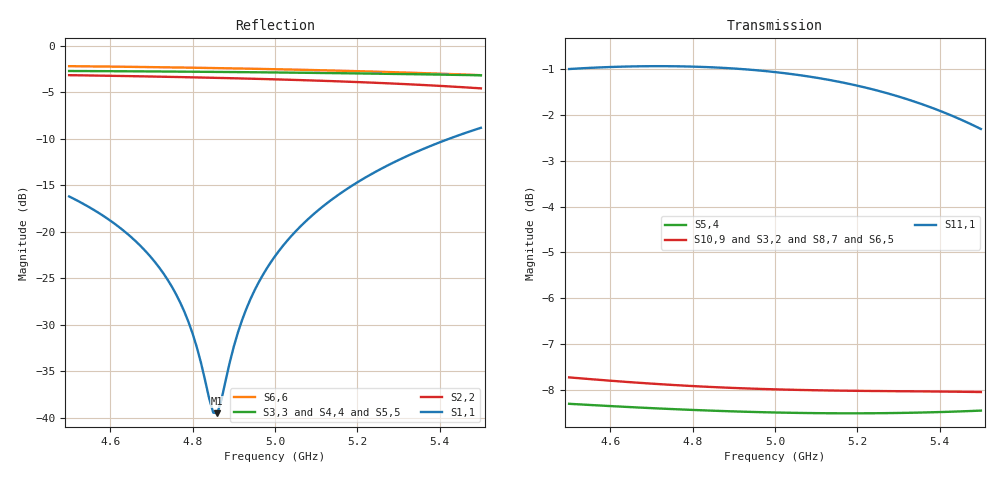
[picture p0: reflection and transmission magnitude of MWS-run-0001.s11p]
! TOUCHSTONE file generated by CST MICROWAVE STUDIO
! Date and time: Mon Jun  3 18:39:44 2024
! Project name: bowtieslot_element.cst
! Parameters = {Le=90; Ls=2; Lu=9; W=60; Wbh=7; Wbl=0.5; ar=0.3; c1=0; c10=0; c2=0; c3=0; c4=0; c5=0; c6=0; c7=0; c8=0; c9=0; ct=0; d=1.5; h=2.15; lamda=60; msline=2.16; rar=0.5; rvia=0.2; subh=1.52; tap=0.9}
! Header version: 2024
! Port assignment regex: !\s*Touchstone port\s*([0-9]+)\s*=\s*(CST MWS port|CST DES external port|CST DES block port)\s*(.+)\s* \(\"(.*)\"\)(\s*mode\s*([0-9]+))?.*
! Touchstone port assignment:
! Touchstone port 1 = CST MWS port 1 ("")
! Touchstone port 2 = CST MWS port 2 ("")
! Touchstone port 3 = CST MWS port 3 ("")
! Touchstone port 4 = CST MWS port 4 ("")
! Touchstone port 5 = CST MWS port 5 ("")
! Touchstone port 6 = CST MWS port 6 ("")
! Touchstone port 7 = CST MWS port 7 ("")
! Touchstone port 8 = CST MWS port 8 ("")
! Touchstone port 9 = CST MWS port 9 ("")
! Touchstone port 10 = CST MWS port 10 ("")
! Touchstone port 11 = CST MWS port 11 ("")
# GHz S MA R 50
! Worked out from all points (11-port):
!   101 points, 4.5 GHz to 5.5 GHz, reference 50 ohm
!   strongest paths, dB at 4.5 GHz, 4.75 GHz, 5 GHz, 5.25 GHz, 5.5 GHz:
!     S11,1: -1.0, -0.9, -1.1, -1.5, -2.3
!     S10,9: -7.7, -7.9, -8.0, -8.0, -8.0
!     S3,2: -7.7, -7.9, -8.0, -8.0, -8.1
!     S8,7: -8.1, -8.1, -8.2, -8.2, -8.3
!     S6,5: -8.1, -8.2, -8.3, -8.3, -8.4
!     S5,4: -8.3, -8.4, -8.5, -8.5, -8.4
!   lowest |S11| = -39.5 dB at 4.86 GHz (marker M1), VSWR 1.02, Z = 49.1 + j0.594 ohm
!   |S11| at or under -10 dB: start of sweep to 5.424 GHz
